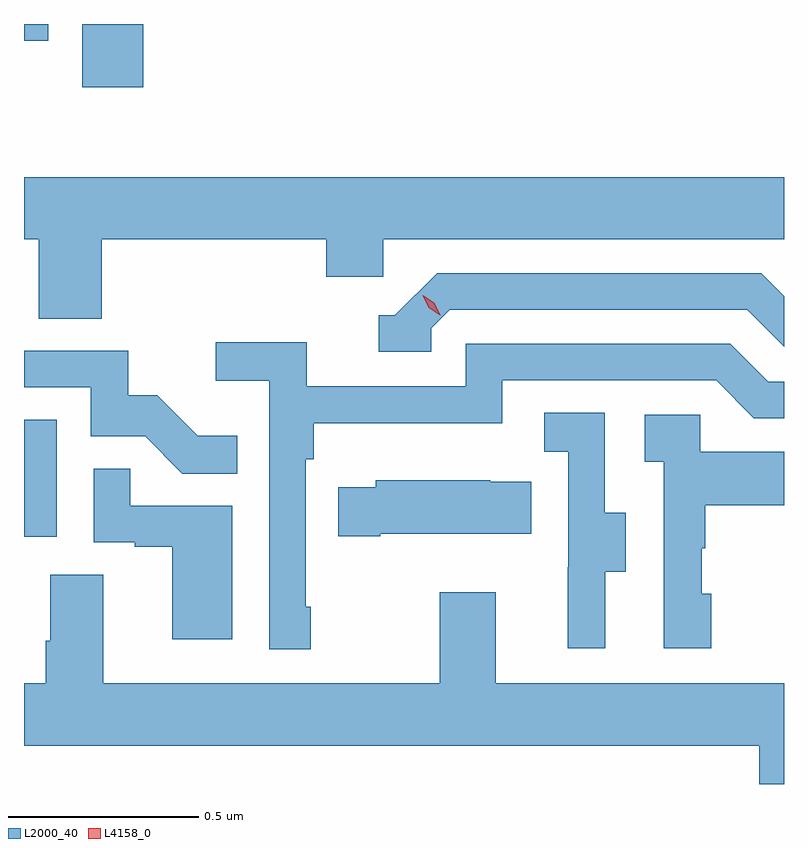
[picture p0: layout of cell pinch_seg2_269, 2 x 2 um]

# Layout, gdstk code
import gdstk
lib = gdstk.Library(unit=1e-6, precision=1e-09)
def R(c, l, rs):  # rectangles x0, y0, x1, y1
    for r in rs: c.add(gdstk.rectangle(r[:2], r[2:], *l))
def P(c, l, *ps):  # polygons
    for p in ps: c.add(gdstk.Polygon(p, *l))
L2000_40 = (2000, 40)
L4158_0 = (4158, 0)

pinch_seg2_269 = lib.new_cell('pinch_seg2_269')
R(pinch_seg2_269, L2000_40, [(890.45,660.174,890.536,660.481), (890.603,661.356,890.764,661.523), (890.45,661.479,890.514,661.523)])
P(pinch_seg2_269, L2000_40, [(890.654,660.956),(891.245,660.956),(891.245,660.858),(891.396,660.858),(891.396,660.956),(892.45,660.956),(892.45,661.12),(890.45,661.12),(890.45,660.956),(890.489,660.956),(890.489,660.748),(890.654,660.748)],
  [(891.522,660.723),(891.57,660.771),(892.353,660.771),(892.45,660.674),(892.45,660.807),(892.39,660.867),(891.537,660.867),(891.426,660.756),(891.383,660.756),(891.383,660.66),(891.522,660.66)],
  [(891.205,659.989),(891.192,659.989),(891.192,660.377),(891.212,660.377),(891.212,660.473),(891.708,660.473),(891.708,660.585),(892.272,660.585),(892.371,660.486),(892.45,660.486),(892.45,660.582),(892.408,660.582),(892.309,660.681),(891.612,660.681),(891.612,660.57),(891.194,660.57),(891.194,660.686),(890.955,660.686),(890.955,660.584),(891.096,660.584),(891.096,659.877),(891.205,659.877)],
  [(891.011,660.439),(890.907,660.439),(890.8,660.546),(890.724,660.546),(890.724,660.663),(890.45,660.663),(890.45,660.567),(890.625,660.567),(890.625,660.438),(890.769,660.438),(890.867,660.34),(891.011,660.34)],
  [(891.979,660.082),(892.033,660.082),(892.033,660.237),(891.978,660.237),(891.978,660.5),(891.819,660.5),(891.819,660.397),(891.882,660.397),(891.882,660.093),(891.881,660.093),(891.881,659.88),(891.979,659.88)],
  [(892.258,660.024),(892.233,660.024),(892.233,660.143),(892.243,660.143),(892.243,660.257),(892.45,660.257),(892.45,660.397),(892.23,660.397),(892.23,660.495),(892.083,660.495),(892.083,660.371),(892.134,660.371),(892.134,659.88),(892.258,659.88)],
  [(890.998,660.255),(890.729,660.255),(890.729,660.353),(890.634,660.353),(890.634,660.159),(890.741,660.159),(890.741,660.147),(890.84,660.147),(890.84,659.904),(890.998,659.904)],
  [(891.388,660.182),(891.785,660.182),(891.785,660.319),(891.677,660.319),(891.677,660.322),(891.375,660.322),(891.375,660.304),(891.277,660.304),(891.277,660.175),(891.388,660.175)],
  [(892.45,659.788),(891.691,659.788),(891.691,660.028),(891.544,660.028),(891.544,659.788),(890.659,659.788),(890.659,660.074),(890.519,660.074),(890.519,659.9),(890.507,659.9),(890.507,659.788),(890.45,659.788),(890.45,659.624),(892.385,659.624),(892.385,659.523),(892.45,659.523)])
P(pinch_seg2_269, L4158_0, [(891.546,660.757),(891.515,660.776),(891.499,660.808),(891.499,660.809),(891.499,660.809),(891.53,660.79),(891.546,660.758),(891.546,660.757)])

lib.write_gds('pinch_seg2_269.gds')
